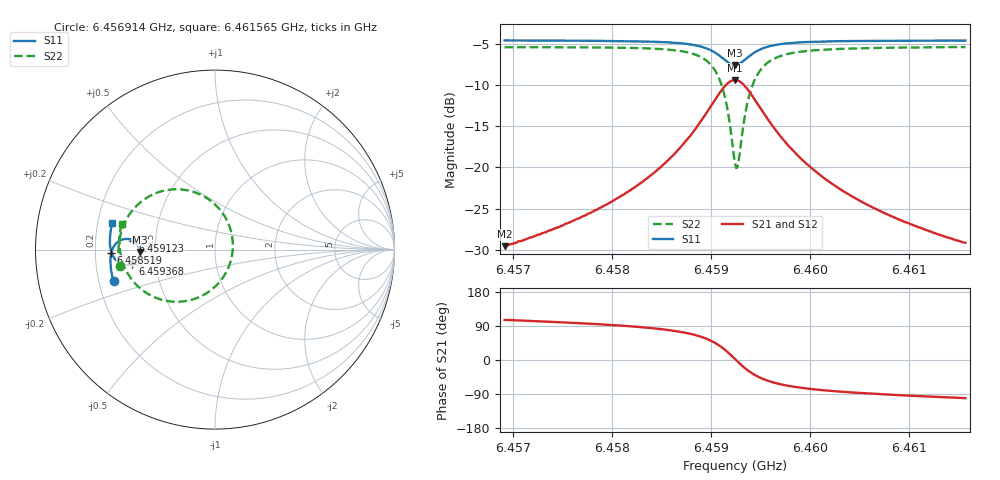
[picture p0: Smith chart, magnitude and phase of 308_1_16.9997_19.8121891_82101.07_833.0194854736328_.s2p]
#  HZ  S  RI  R  50.00
! Rohde & Schwarz Vector Network Analyzer
! Rohde-Schwarz,ZNB20-2Port,1311601062101988,3.16
! Created: UTC 3/20/2024, 11:05:53 PM
! freq[Hz]  re:S11  im:S11  re:S21  im:S21  re:S12  im:S12  re:S22  im:S22
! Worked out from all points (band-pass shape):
!   401 points, 6.456914 GHz to 6.461565 GHz, reference 50 ohm
!   highest |S21| = -9.36 dB at 6.45924 GHz (marker M1); lowest = -29.6 dB at 6.456914 GHz (marker M2)
!   |S21| within 3 dB of the highest: 6.459007 GHz to 6.459472 GHz (465.9 kHz wide, 0.00721 % of centre)
!   lowest |S11| = -7.5 dB at 6.45924 GHz (marker M3), VSWR 2.45, Z = 20.4 - j0.632 ohm
!   |S11| at or under -10 dB: nowhere
!   |S22| runs from -20.1 to -5.3 dB; largest |S21 - S12| = 0.013
!   S11 on the Smith chart (normalised r, x): 6.456914 GHz: 0.26, -0.14; 6.458519 GHz: 0.27, -0.02; 6.459123 GHz: 0.37, +0.05; 6.459368 GHz: 0.37, -0.07; 6.461565 GHz: 0.26, +0.12
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6.4569145e9  -0.5651 -0.1773  -0.00904 0.0319  -0.0074 0.032  -0.5315 -0.089
6.4576934e9  -0.5798 -0.1094  -0.00589 0.0497  -0.00335 0.0491  -0.5377 0.00107
6.4581236e9  -0.583 -0.0665  -5.16e-05 0.0689  0.00311 0.0677  -0.5301 0.0681
6.4584723e9  -0.5796 -0.0251  0.0135 0.0977  0.0175 0.0948  -0.5053 0.1454
6.4585188e9  -0.5782 -0.0188  0.0168 0.103  0.0209 0.0999  -0.4993 0.1584
6.4587281e9  -0.5663 0.0131  0.0426 0.1343  0.0467 0.1296  -0.4511 0.2293
6.4588792e9  -0.5453 0.0396  0.0845 0.1643  0.088 0.158  -0.3739 0.2928
6.4590304e9  -0.4995 0.0592  0.1754 0.1833  0.1764 0.176  -0.2085 0.3362
6.4591234e9  -0.4553 0.0494  0.2641 0.1527  0.2644 0.1467  -0.045 0.2868
6.4591699e9  -0.4342 0.0308  0.3074 0.1105  0.3085 0.1051  0.0362 0.2117
6.4592396e9  -0.4195 -0.0127  0.3402 0.0152  0.3437 0.00801  0.0995 0.0357
6.4592512e9  -0.4199 -0.0208  0.3402 -0.00234  0.3438 -0.01  0.0992 0.00292
6.4592745e9  -0.4233 -0.0361  0.3348 -0.0366  0.3383 -0.0457  0.0884 -0.0615
6.4593326e9  -0.4436 -0.0669  0.2972 -0.1076  0.2986 -0.1197  0.0129 -0.1943
6.4593675e9  -0.4605 -0.078  0.2655 -0.1361  0.2645 -0.1491  -0.0511 -0.2455
6.4594605e9  -0.5032 -0.0848  0.1822 -0.1671  0.1761 -0.1784  -0.2161 -0.2909
6.4596116e9  -0.5468 -0.0646  0.0956 -0.154  0.0873 -0.16  -0.3803 -0.2426
6.4597744e9  -0.5682 -0.037  0.0511 -0.1266  0.0438 -0.1295  -0.4593 -0.172
6.4600185e9  -0.581 -0.00153  0.0224 -0.0958  0.0167 -0.0963  -0.5067 -0.091
6.4603673e9  -0.5857 0.0396  0.00646 -0.0694  0.00239 -0.0689  -0.5278 -0.0126
6.4607975e9  -0.5838 0.0826  -0.00136 -0.0512  -0.00405 -0.0503  -0.5321 0.0551
6.4615648e9  -0.5717 0.1505  -0.00649 -0.0342  -0.00801 -0.0332  -0.5205 0.1447
